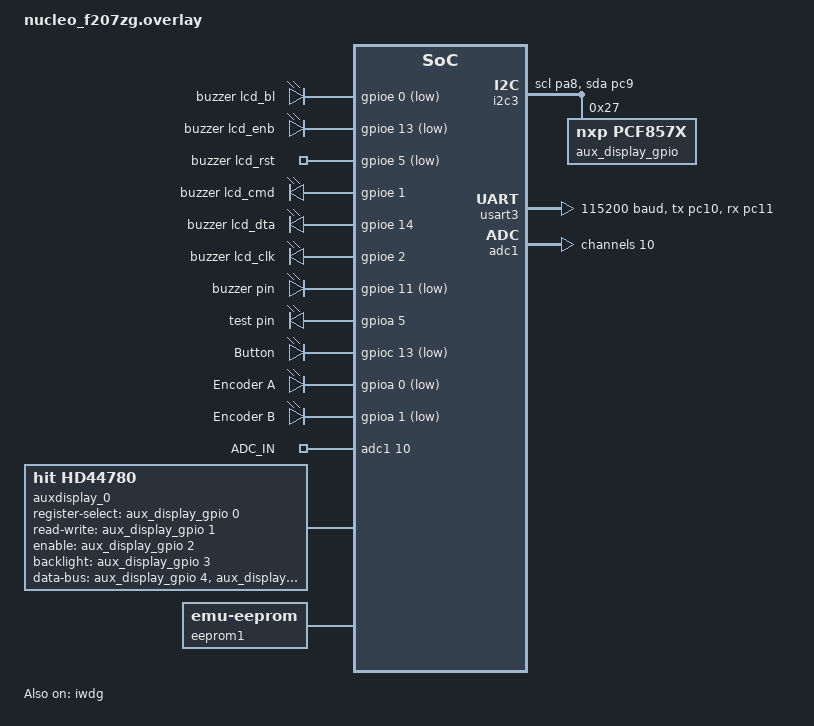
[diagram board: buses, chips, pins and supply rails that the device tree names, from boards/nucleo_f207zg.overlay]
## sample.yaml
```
# See doc/develop/test/twister.rst for what is here.
sample:
  name: Driver Sample
common:
  filter: CONFIG_RUST_SUPPORTED
  platform_allow:
    - qemu_cortex_m0
    - qemu_cortex_m3
    - qemu_riscv32
    - qemu_riscv64    
    - stm32f4_disco
    - stm32l1_disco    
    - nucleo_f207zg
    - nucleo_f072rb
tests:
  sample.basic.drivers:
    tags:
      - I2C
      - ADC      
    filter: 
    depends_on: ADC
    harness: ADC
    integration_platforms:
      - stm32f1_disco
      - nucleo_f207zg
```

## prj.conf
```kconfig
CONFIG_GPIO=y

CONFIG_ADC=y
CONFIG_ADC_ASYNC=y

CONFIG_DAC=y

CONFIG_RUST=y
CONFIG_RUST_ALLOC=y

CONFIG_DEBUG=y
CONFIG_MAIN_STACK_SIZE=4096
CONFIG_HEAP_MEM_POOL_SIZE=2048

CONFIG_SYS_CLOCK_TICKS_PER_SEC=10000

CONFIG_GPIO_ENABLE_DISABLE_INTERRUPT=y

CONFIG_GPIO_PCF857X=y
CONFIG_AUXDISPLAY=y

CONFIG_FPU=n
CONFIG_FPU_SHARING=n

CONFIG_SENSOR=y
CONFIG_W1=y

CONFIG_EEPROM=y
CONFIG_EEPROM_EMULATOR=y

CONFIG_WATCHDOG=y
CONFIG_WDT_DISABLE_AT_BOOT=y
CONFIG_SPEED_OPTIMIZATIONS=y

#CONFIG_I2C=y
#CONFIG_RTIO=y
#CONFIG_I2C_RTIO=y

#CONFIG_LOG=y
#CONFIG_LOG_DEFAULT_LEVEL=4

#Verify that userspace builds work.
#CONFIG_USERSPACE=y
```

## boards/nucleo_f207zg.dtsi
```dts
&usart3 {
	status = "okay";

	w1_0: w1-zephyr-serial-0 {
		compatible = "zephyr,w1-serial";
		#address-cells = <1>;
		#size-cells = <0>;
		status = "okay";

		ds18b20 {
			compatible = "maxim,ds18b20";
			family-code = <0x28>;
			resolution = <12>;
			status = "okay";
		};
	};
};

&adc1 {
	pinctrl-0 = <&adc1_in10_pc0>;
	pinctrl-names = "default";
	st,adc-prescaler = <2>;
	status = "okay";
};

&dac1 {
 	pinctrl-0 = <&dac_out1_pa4>;
 	pinctrl-names = "default";	
 	status = "okay";
};
```

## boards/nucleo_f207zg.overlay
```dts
#include "nucleo_f207zg.dtsi"

&i2c3 {
	pinctrl-0 = <&i2c3_scl_pa8 &i2c3_sda_pc9>;
	pinctrl-names = "default";
	status = "okay";
	aux_display_gpio: pcf8574@27 {
		compatible = "nxp,pcf857x";
		reg = <0x27>;
		gpio-controller;
		ngpios = <8>;
		#gpio-cells = <2>;
	};
};

/ {
	gpios {		
		compatible = "gpio-leds";	
		lcd_bl: lcd_bl {			
			gpios = <&gpioe 0 GPIO_ACTIVE_LOW>;	
			label = "buzzer lcd_bl";
		};
		lcd_enb: lcd_enb {			
			gpios = <&gpioe 13 GPIO_ACTIVE_LOW>;
			label = "buzzer lcd_enb";
		};
		lcd_rst: lcd_rst {			
			gpios = <&gpioe 5 GPIO_ACTIVE_LOW>;
			label = "buzzer lcd_rst";
		};		
		lcd_cmd: lcd_cmd {			
			gpios = <&gpioe 1 GPIO_ACTIVE_HIGH>;
			label = "buzzer lcd_cmd";
		};		
		lcd_dta: lcd_dta {			
			gpios = <&gpioe 14 GPIO_ACTIVE_HIGH>;
			label = "buzzer lcd_dta";
		};		
		lcd_clk: lcd_clk {			
			gpios = <&gpioe 2 GPIO_ACTIVE_HIGH>;
			label = "buzzer lcd_clk";
		};			
		buzzer: buzzer {
			gpios = <&gpioe 11 GPIO_ACTIVE_LOW>;
			label = "buzzer pin";
		};		
		pulse_pin: pulse_pin {
			gpios = <&gpioa 5 (GPIO_ACTIVE_HIGH)>;
			label = "test pin";
		};	
		button: button {
			gpios = <&gpioc 13 (GPIO_PULL_DOWN | GPIO_ACTIVE_LOW)>;
			label = "Button";
		};
		encoder_a: encoder_a {
			gpios = <&gpioa 0 (GPIO_PULL_UP | GPIO_ACTIVE_LOW)>;
			label = "Encoder A";
		};
		encoder_b: encoder_b {
			gpios = <&gpioa 1 (GPIO_PULL_UP | GPIO_ACTIVE_LOW)>;
			label = "Encoder B";
		};											
	};		
	zephyr,user {
		/* adjust channel number according to pinmux in board.dts */
		io-channels = <&adc1 10>;
		io-channel-names = "ADC_IN";

		dac = <&dac1>;
		dac-channel-id = <1>;
		dac-resolution = <12>;			
	};		
	auxdisplay_0: hd44780 {
		compatible = "hit,hd44780";
		columns = <16>;
		rows = <2>;
		mode = <4>;
		boot-delay-ms = <100>;
		register-select-gpios = <&aux_display_gpio 0 (GPIO_ACTIVE_HIGH)>;
		read-write-gpios    = <&aux_display_gpio 1 (GPIO_ACTIVE_HIGH)>;
		enable-gpios        = <&aux_display_gpio 2 (GPIO_ACTIVE_HIGH)>;
		backlight-gpios     = <&aux_display_gpio 3 (GPIO_ACTIVE_HIGH)>;
		data-bus-gpios      = <0>, <0>, <0>, <0>,
				<&aux_display_gpio 4 (GPIO_ACTIVE_HIGH)>,
				<&aux_display_gpio 5 (GPIO_ACTIVE_HIGH)>,
				<&aux_display_gpio 6 (GPIO_ACTIVE_HIGH)>,
				<&aux_display_gpio 7 (GPIO_ACTIVE_HIGH)>;
	};	
	eeprom1: eeprom1 {
		status = "okay";
		compatible = "zephyr,emu-eeprom";
		size = <DT_SIZE_K(4)>;
		pagesize = <DT_SIZE_K(8)>;
	 	partition = <&eepromemu_partition>;
	 	rambuf;
	};

	aliases {		
		eeprom-1 = &eeprom1;
		watchdog0 = &iwdg;
	};		
};

 &flash0 {
	partitions {
		compatible = "fixed-partitions";
		#address-cells = <1>;
		#size-cells = <1>;

		eepromemu_partition: partition@38000 {
			label = "eeprom-emu";
			reg = <0x38000 DT_SIZE_K(32)>;
		};		
	};
};

&usart3 {
	pinctrl-0 = <&usart3_tx_pc10 &usart3_rx_pc11>;
	pinctrl-names = "default";
	current-speed = <115200>;
	status = "okay";
};

&usart3_tx_pc10 {
	drive-open-drain;
	bias-pull-up;
};

&adc1 {
	#address-cells = <1>;
	#size-cells = <0>;
 
	channel@10 {
		reg = <10>;
		zephyr,gain = "ADC_GAIN_1";
		zephyr,reference = "ADC_REF_INTERNAL";
		zephyr,acquisition-time = <ADC_ACQ_TIME_DEFAULT>;
		zephyr,resolution = <12>;
	};
};

&iwdg {
	status = "okay";
};

&wwdg {
	status = "disabled";
};
```

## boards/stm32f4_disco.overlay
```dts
#include "stm32f4_disco.dtsi"

&i2c3 {
	pinctrl-0 = <&i2c3_scl_pa8 &i2c3_sda_pc9>;
	pinctrl-names = "default";
	status = "okay";
	aux_display_gpio: pcf8574@27 {
		compatible = "nxp,pcf857x";
		reg = <0x27>;
		gpio-controller;
		ngpios = <8>;
		#gpio-cells = <2>;
	};
};

/ {
	gpios {		
		compatible = "gpio-leds";	
		lcd_bl: lcd_bl {			
			gpios = <&gpioe 0 GPIO_ACTIVE_LOW>;	
			label = "buzzer lcd_bl";
		};
		lcd_enb: lcd_enb {			
			gpios = <&gpioe 13 GPIO_ACTIVE_LOW>;
			label = "buzzer lcd_enb";
		};
		lcd_rst: lcd_rst {			
			gpios = <&gpioe 5 GPIO_ACTIVE_LOW>;
			label = "buzzer lcd_rst";
		};		
		lcd_cmd: lcd_cmd {			
			gpios = <&gpioe 1 GPIO_ACTIVE_HIGH>;
			label = "buzzer lcd_cmd";
		};		
		lcd_dta: lcd_dta {			
			gpios = <&gpioe 14 GPIO_ACTIVE_HIGH>;
			label = "buzzer lcd_dta";
		};		
		lcd_clk: lcd_clk {			
			gpios = <&gpioe 2 GPIO_ACTIVE_HIGH>;
			label = "buzzer lcd_clk";
		};			
		buzzer: buzzer {
			gpios = <&gpioe 11 GPIO_ACTIVE_LOW>;
			label = "buzzer pin";
		};		
		pulse_pin: pulse_pin {
			gpios = <&gpioe 5 (GPIO_ACTIVE_HIGH)>;
			label = "test pin";
		};	
		button: button {
			gpios = <&gpioc 13 (GPIO_PULL_DOWN | GPIO_ACTIVE_LOW)>;
			label = "Button";
		};
		encoder_a: encoder_a {
			gpios = <&gpioa 0 (GPIO_PULL_UP | GPIO_ACTIVE_LOW)>;
			label = "Encoder A";
		};
		encoder_b: encoder_b {
			gpios = <&gpioa 1 (GPIO_PULL_UP | GPIO_ACTIVE_LOW)>;
			label = "Encoder B";
		};											
	};		
	zephyr,user {
		/* adjust channel number according to pinmux in board.dts */
		io-channels = <&adc1 10>;
		io-channel-names = "ADC_IN";

		dac = <&dac1>;
		dac-channel-id = <1>;
		dac-resolution = <12>;			
	};		
	auxdisplay_0: hd44780 {
		compatible = "hit,hd44780";
		columns = <16>;
		rows = <2>;
		mode = <4>;
		boot-delay-ms = <100>;
		register-select-gpios = <&aux_display_gpio 0 (GPIO_ACTIVE_HIGH)>;
		read-write-gpios    = <&aux_display_gpio 1 (GPIO_ACTIVE_HIGH)>;
		enable-gpios        = <&aux_display_gpio 2 (GPIO_ACTIVE_HIGH)>;
		backlight-gpios     = <&aux_display_gpio 3 (GPIO_ACTIVE_HIGH)>;
		data-bus-gpios      = <0>, <0>, <0>, <0>,
				<&aux_display_gpio 4 (GPIO_ACTIVE_HIGH)>,
				<&aux_display_gpio 5 (GPIO_ACTIVE_HIGH)>,
				<&aux_display_gpio 6 (GPIO_ACTIVE_HIGH)>,
				<&aux_display_gpio 7 (GPIO_ACTIVE_HIGH)>;
	};	
	eeprom1: eeprom1 {
		status = "okay";
		compatible = "zephyr,emu-eeprom";
		size = <DT_SIZE_K(4)>;
		pagesize = <DT_SIZE_K(8)>;
	 	partition = <&eepromemu_partition>;
	 	rambuf;
	};

	aliases {		
		eeprom-1 = &eeprom1;
		watchdog0 = &iwdg;
	};		
};

 &flash0 {
	partitions {
		compatible = "fixed-partitions";
		#address-cells = <1>;
		#size-cells = <1>;

		eepromemu_partition: partition@38000 {
			label = "eeprom-emu";
			reg = <0x38000 DT_SIZE_K(32)>;
		};		
	};
};

&usart3 {
	pinctrl-0 = <&usart3_tx_pc10 &usart3_rx_pc11>;
	pinctrl-names = "default";
	current-speed = <115200>;
	status = "okay";
};

&usart3_tx_pc10 {
	drive-open-drain;
	bias-pull-up;
};

&adc1 {
	#address-cells = <1>;
	#size-cells = <0>;
 
	channel@10 {
		reg = <10>;
		zephyr,gain = "ADC_GAIN_1";
		zephyr,reference = "ADC_REF_INTERNAL";
		zephyr,acquisition-time = <ADC_ACQ_TIME_DEFAULT>;
		zephyr,resolution = <12>;
	};
};

&iwdg {
	status = "okay";
};

&wwdg {
	status = "disabled";
};
```

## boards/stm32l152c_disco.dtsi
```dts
&usart3 {
	status = "okay";
	w1_0: w1-zephyr-serial-0 {
		compatible = "zephyr,w1-serial";
		#address-cells = <1>;
		#size-cells = <0>;
		status = "okay";

		ds18b20 {
			compatible = "maxim,ds18b20";
			family-code = <0x28>;
			resolution = <12>;
			status = "okay";
		};
	};
};

&adc1 {
	pinctrl-0 = <&adc_in10_pc0>;
	pinctrl-names = "default";
	st,adc-prescaler = <2>;
	status = "okay";
};

&dac1 {
 	pinctrl-0 = <&dac_out2_pa5>;
 	pinctrl-names = "default";	
 	status = "okay";
};
```

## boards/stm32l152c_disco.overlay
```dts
#include "stm32l152c_disco.dtsi"

/ {
	gpios {
		compatible = "gpio-leds";
		lcd_bl: lcd_bl {			
			gpios = <&gpiob 0 GPIO_ACTIVE_LOW>;	
			label = "buzzer lcd_bl";
		};
		lcd_enb: lcd_enb {			
			gpios = <&gpiob 13 GPIO_ACTIVE_LOW>;
			label = "buzzer lcd_enb";
		};
		lcd_rst: lcd_rst {			
			gpios = <&gpioc 5 GPIO_ACTIVE_LOW>;
			label = "buzzer lcd_rst";
		};		
		lcd_cmd: lcd_cmd {			
			gpios = <&gpiob 1 GPIO_ACTIVE_HIGH>;
			label = "buzzer lcd_cmd";
		};		
		lcd_dta: lcd_dta {			
			gpios = <&gpiob 14 GPIO_ACTIVE_HIGH>;
			label = "buzzer lcd_dta";
		};		
		lcd_clk: lcd_clk {			
			gpios = <&gpiob 2 GPIO_ACTIVE_HIGH>;
			label = "buzzer lcd_clk";
		};			
		buzzer: buzzer {
			gpios = <&gpioa 11 GPIO_ACTIVE_LOW>;
			label = "buzzer pin";
		};		
		button: button {
			gpios = <&gpioa 0 (GPIO_PULL_UP | GPIO_ACTIVE_LOW)>;
			label = "Button";
		};
		encoder_a: encoder_a {
			gpios = <&gpiob 5 (GPIO_PULL_UP | GPIO_ACTIVE_LOW)>;
			label = "Encoder A";
		};
		encoder_b: encoder_b {
			gpios = <&gpiob 4 (GPIO_PULL_UP | GPIO_ACTIVE_LOW)>;
			label = "Encoder B";
		};	
		pulse_pin: pulse_pin {						
			gpios = <&gpioc 7 GPIO_ACTIVE_HIGH>;
			label = "Pulse pin";
		};										
	};	
	zephyr,user {
		io-channels = <&adc1 10>;
		io-channel-names = "ADC_IN";

		dac = <&dac1>;
		dac-channel-id = <2>;
		dac-resolution = <12>;			
	};		
	eeprom1: eeprom1 {
		status = "okay";
		compatible = "zephyr,emu-eeprom";
		size = <DT_SIZE_K(4)>;
		pagesize = <DT_SIZE_K(8)>;
	 	partition = <&eepromemu_partition>;
		rambuf;
	};	
	aliases {
		eeprom-1 = &eeprom1;
		watchdog0 = &iwdg;
	};	
};

&flash0 {
	partitions {
		compatible = "fixed-partitions";
		#address-cells = <1>;
		#size-cells = <1>;

		eepromemu_partition: partition@38000 {
			label = "eeprom-emu";
			reg = <0x38000 DT_SIZE_K(32)>;
		};		
	};
};

&usart3 {
	pinctrl-0 = <&usart3_tx_pc10 &usart3_rx_pc11>;
	pinctrl-names = "default";
	current-speed = <115200>;
	status = "okay";
};

&usart3_tx_pc10 {
	drive-open-drain;
	bias-pull-up;
};

&adc1 {
	#address-cells = <1>;
	#size-cells = <0>;
 
	channel@10 {
		reg = <10>;
		zephyr,gain = "ADC_GAIN_1";
		zephyr,reference = "ADC_REF_INTERNAL";
		zephyr,acquisition-time = <ADC_ACQ_TIME_DEFAULT>;
		zephyr,resolution = <12>;
	};
};

&iwdg {
	status = "okay";
};

&wwdg {
	status = "disabled";
};

&eeprom {
	status = "okay";
};
```

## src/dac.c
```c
// Copyright (c) 2025
// SPDX-License-Identifier: Apache-2.0
// Coskun ERGAN <coskunergan@gmail.com>

#include <zephyr/kernel.h>
#include <zephyr/devicetree.h>
#include <zephyr/drivers/dac.h>

#if !DT_NODE_HAS_PROP(DT_PATH(zephyr_user), dac) || \
	!DT_NODE_HAS_PROP(DT_PATH(zephyr_user), dac_channel_id) || \
	!DT_NODE_HAS_PROP(DT_PATH(zephyr_user), dac_resolution)
#error "DAC properties missing in devicetree"
#endif

#define DAC_NODE DT_PHANDLE(DT_PATH(zephyr_user), dac)
#define DAC_CHANNEL_ID DT_PROP(DT_PATH(zephyr_user), dac_channel_id)
#define DAC_RESOLUTION DT_PROP(DT_PATH(zephyr_user), dac_resolution)

static const struct device *const dac_dev = DEVICE_DT_GET_OR_NULL(DAC_NODE);

static const struct dac_channel_cfg dac_ch_cfg =
{
    .channel_id = DAC_CHANNEL_ID,
    .resolution = DAC_RESOLUTION,
    .buffered = true
};

int dac_init(void)
{
    if(!device_is_ready(dac_dev))
    {
        return -ENODEV;
    }
    return dac_channel_setup(dac_dev, &dac_ch_cfg);
}

int dac_write(uint32_t value)
{
    return dac_write_value(dac_dev, DAC_CHANNEL_ID, value);
}
```

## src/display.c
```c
// Copyright (c) 2025
// SPDX-License-Identifier: Apache-2.0
// Coskun ERGAN <coskunergan@gmail.com>

#include <zephyr/kernel.h>
#include <zephyr/devicetree.h>
#include <zephyr/device.h>
#include <zephyr/drivers/auxdisplay.h>
#include <zephyr/drivers/gpio.h>
#include <zephyr/logging/log.h>

LOG_MODULE_REGISTER(auxdisplay, LOG_LEVEL_DBG);

//#define AUX_DISPLAY (convert-1)

#ifdef AUX_DISPLAY
static const struct device *const display_dev = DEVICE_DT_GET_OR_NULL(DT_NODELABEL(auxdisplay_0));
#else

static const struct gpio_dt_spec lcd_bl =
    GPIO_DT_SPEC_GET_OR(DT_NODELABEL(lcd_bl), gpios,
                        {
                            0
                        });
static const struct gpio_dt_spec lcd_rst =
    GPIO_DT_SPEC_GET_OR(DT_NODELABEL(lcd_rst), gpios,
                        {
                            0
                        });
static const struct gpio_dt_spec lcd_enb =
    GPIO_DT_SPEC_GET_OR(DT_NODELABEL(lcd_enb), gpios,
                        {
                            0
                        });
static const struct gpio_dt_spec lcd_cmd =
    GPIO_DT_SPEC_GET_OR(DT_NODELABEL(lcd_cmd), gpios,
                        {
                            0
                        });
static const struct gpio_dt_spec lcd_dta =
    GPIO_DT_SPEC_GET_OR(DT_NODELABEL(lcd_dta), gpios,
                        {
                            0
                        });
static const struct gpio_dt_spec lcd_clk =
    GPIO_DT_SPEC_GET_OR(DT_NODELABEL(lcd_clk), gpios,
                        {
                            0
                        });
const uint8_t init_params[] =
{
    0xF1, 0x0F, 0xF8, 0x01, 0x06, 0xF0, 0x00, 0x2D, 0xA8, 0xA3, 0x81, 0x8, 0xFF
};
const uint8_t char_table[111][6] =
{
    {0x00, 0x00, 0x00, 0x00, 0x00, 0x00}, // SPACE
    {0x00, 0x00, 0x5F, 0x00, 0x00, 0x00}, // !
    {0x00, 0x03, 0x00, 0x03, 0x00, 0x00}, // "
    {0x14, 0x3E, 0x14, 0x3E, 0x14, 0x00}, // #
    {0x24, 0x2A, 0x7F, 0x2A, 0x12, 0x00}, // $
    {0x43, 0x33, 0x08, 0x66, 0x61, 0x00}, // %
    {0x36, 0x49, 0x55, 0x22, 0x50, 0x00}, // &
    {0x00, 0x05, 0x03, 0x00, 0x00, 0x00}, // '
    {0x00, 0x1C, 0x22, 0x41, 0x00, 0x00}, // (
    {0x00, 0x41, 0x22, 0x1C, 0x00, 0x00}, // )
    {0x14, 0x08, 0x3E, 0x08, 0x14, 0x00}, // *
    {0x08, 0x08, 0x3E, 0x08, 0x08, 0x00}, // +
    {0x00, 0x50, 0x30, 0x00, 0x00, 0x00}, // ,
    {0x08, 0x08, 0x08, 0x08, 0x08, 0x00}, // -
    {0x00, 0x60, 0x60, 0x00, 0x00, 0x00}, // .
    {0x20, 0x10, 0x08, 0x04, 0x02, 0x00}, // /
    {0x3E, 0x51, 0x49, 0x45, 0x3E, 0x00}, // 0
    {0x04, 0x02, 0x7F, 0x00, 0x00, 0x00}, // 1
    {0x42, 0x61, 0x51, 0x49, 0x46, 0x00}, // 2
    {0x22, 0x41, 0x49, 0x49, 0x36, 0x00}, // 3
    {0x18, 0x14, 0x12, 0x7F, 0x10, 0x00}, // 4
    {0x27, 0x45, 0x45, 0x45, 0x39, 0x00}, // 5
    {0x3E, 0x49, 0x49, 0x49, 0x32, 0x00}, // 6
    {0x01, 0x01, 0x71, 0x09, 0x07, 0x00}, // 7
    {0x36, 0x49, 0x49, 0x49, 0x36, 0x00}, // 8
    {0x26, 0x49, 0x49, 0x49, 0x3E, 0x00}, // 9
    {0x00, 0x36, 0x36, 0x00, 0x00, 0x00}, // :
    {0x00, 0x56, 0x36, 0x00, 0x00, 0x00}, // ;
    {0x08, 0x14, 0x22, 0x41, 0x00, 0x00}, // <
    {0x14, 0x14, 0x14, 0x14, 0x14, 0x00}, // =
    {0x00, 0x41, 0x22, 0x14, 0x08, 0x00}, // >
    {0x02, 0x01, 0x51, 0x09, 0x06, 0x00}, // ?
    {0x00, 0x06, 0x09, 0x09, 0x06, 0x00}, // @
    {0x7E, 0x09, 0x09, 0x09, 0x7E, 0x00}, // A
    {0x7F, 0x49, 0x49, 0x49, 0x36, 0x00}, // B
    {0x3E, 0x41, 0x41, 0x41, 0x22, 0x00}, // C
    {0x7F, 0x41, 0x41, 0x41, 0x3E, 0x00}, // D
    {0x7F, 0x49, 0x49, 0x49, 0x41, 0x00}, // E
    {0x7F, 0x09, 0x09, 0x09, 0x01, 0x00}, // F
    {0x3E, 0x41, 0x41, 0x49, 0x3A, 0x00}, // G
    {0x7F, 0x08, 0x08, 0x08, 0x7F, 0x00}, // H
    {0x00, 0x41, 0x7F, 0x41, 0x00, 0x00}, // I
    {0x30, 0x40, 0x40, 0x40, 0x3F, 0x00}, // J
    {0x7F, 0x08, 0x14, 0x22, 0x41, 0x00}, // K
    {0x7F, 0x40, 0x40, 0x40, 0x40, 0x00}, // L
    {0x7F, 0x02, 0x0C, 0x02, 0x7F, 0x00}, // M
    {0x7F, 0x02, 0x04, 0x08, 0x7F, 0x00}, // N
    {0x3E, 0x41, 0x41, 0x41, 0x3E, 0x00}, // O
    {0x7F, 0x09, 0x09, 0x09, 0x06, 0x00}, // P
    {0x1E, 0x21, 0x21, 0x21, 0x5E, 0x00}, // Q
    {0x7F, 0x09, 0x09, 0x09, 0x76, 0x00}, // R
    {0x26, 0x49, 0x49, 0x49, 0x32, 0x00}, // S
    {0x01, 0x01, 0x7F, 0x01, 0x01, 0x00}, // T
    {0x3F, 0x40, 0x40, 0x40, 0x3F, 0x00}, // U
    {0x1F, 0x20, 0x40, 0x20, 0x1F, 0x00}, // V
    {0x7F, 0x20, 0x10, 0x20, 0x7F, 0x00}, // W
    {0x63, 0x14, 0x08, 0x14, 0x63, 0x00}, // X
    {0x07, 0x08, 0x70, 0x08, 0x07, 0x00}, // Y
    {0x61, 0x51, 0x49, 0x45, 0x43, 0x00}, // Z
    {0x00, 0x7F, 0x41, 0x00, 0x00, 0x00}, // [
    {0x02, 0x04, 0x08, 0x10, 0x20, 0x00}, //
    {0x00, 0x00, 0x41, 0x7F, 0x00, 0x00}, // ]
    {0x00, 0x06, 0x09, 0x09, 0x06, 0x00}, // ^ -> degree
    {0x40, 0x40, 0x40, 0x40, 0x40, 0x00}, // _
    {0x00, 0x01, 0x02, 0x04, 0x00, 0x00}, // `
    {0x20, 0x54, 0x54, 0x54, 0x78, 0x00}, // a
    {0x7F, 0x44, 0x44, 0x44, 0x38, 0x00}, // b
    {0x38, 0x44, 0x44, 0x44, 0x44, 0x00}, // c
    {0x38, 0x44, 0x44, 0x44, 0x7F, 0x00}, // d
    {0x38, 0x54, 0x54, 0x54, 0x18, 0x00}, // e
    {0x04, 0x04, 0x7E, 0x05, 0x05, 0x00}, // f
    {0x08, 0x54, 0x54, 0x54, 0x3C, 0x00}, // g
    {0x7F, 0x08, 0x04, 0x04, 0x78, 0x00}, // h
    {0x00, 0x44, 0x7D, 0x40, 0x00, 0x00}, // i
    {0x20, 0x40, 0x44, 0x3D, 0x00, 0x00}, // j
    {0x7F, 0x10, 0x28, 0x44, 0x00, 0x00}, // k
    {0x00, 0x41, 0x7F, 0x40, 0x00, 0x00}, // l
    {0x7C, 0x04, 0x78, 0x04, 0x78, 0x00}, // m
    {0x7C, 0x08, 0x04, 0x04, 0x78, 0x00}, // n
    {0x38, 0x44, 0x44, 0x44, 0x38, 0x00}, // o
    {0x7C, 0x14, 0x14, 0x14, 0x08, 0x00}, // p
    {0x08, 0x14, 0x14, 0x14, 0x7C, 0x00}, // q
    {0x00, 0x7C, 0x08, 0x04, 0x04, 0x00}, // r
    {0x48, 0x54, 0x54, 0x54, 0x20, 0x00}, // s
    {0x04, 0x04, 0x3F, 0x44, 0x44, 0x00}, // t
    {0x3C, 0x40, 0x40, 0x20, 0x7C, 0x00}, // u
    {0x1C, 0x20, 0x40, 0x20, 0x1C, 0x00}, // v
    {0x3C, 0x40, 0x30, 0x40, 0x3C, 0x00}, // w
    {0x44, 0x28, 0x10, 0x28, 0x44, 0x00}, // x
    {0x0C, 0x50, 0x50, 0x50, 0x3C, 0x00}, // y
    {0x44, 0x64, 0x54, 0x4C, 0x44, 0x00}, // z
    {0x00, 0x08, 0x36, 0x41, 0x41, 0x00}, // {
    {0x00, 0x00, 0x7F, 0x00, 0x00, 0x00}, // |
    {0x41, 0x41, 0x36, 0x08, 0x00, 0x00}, // }
    {0x02, 0x01, 0x02, 0x04, 0x02, 0x00}, // ~
    {0x30, 0x48, 0xC8, 0x48, 0x00, 0x00}, //ç
    {0x10, 0xAA, 0xAA, 0xA8, 0x70, 0x00}, //ğ
    {0x00, 0x00, 0x7C, 0x00, 0x00, 0x00}, //ı
    {0x38, 0x45, 0x44, 0x45, 0x38, 0x00}, //ö
    {0x58, 0x54, 0xD4, 0x54, 0x30, 0x00}, //ş
    {0x38, 0x41, 0x40, 0x41, 0x38, 0x00}, //ü
    {0x3E, 0x41, 0xC1, 0x41, 0x22, 0x00}, //Ç
    {0x3C, 0x43, 0x53, 0x53, 0x34, 0x00}, //Ğ
    {0x00, 0x00, 0x7D, 0x00, 0x00, 0x00}, //İ
    {0x3C, 0x43, 0x42, 0x43, 0x3C, 0x00}, //Ö
    {0x26, 0x49, 0xC9, 0x49, 0x32, 0x00}, //Ş
    {0x3C, 0x41, 0x40, 0x41, 0x3C, 0x00}, //Ü
    {0x00, 0x00, 0x11, 0x15, 0x0A, 0x00}, //3
    {0x10, 0x38, 0x7C, 0xFE, 0x38, 0x38}, //<
    {0x38, 0x38, 0xFE, 0x7C, 0x38, 0x10}  //>
};
uint8_t ch_count;
void io_send(uint8_t byte)
{
    for(uint8_t i = 0; i < 8; i++)
    {
        gpio_pin_set_dt(&lcd_clk, false);
        if((byte & 0x80) == 0x80)
        {
            gpio_pin_set_dt(&lcd_dta, true);
        }
        else
        {
            gpio_pin_set_dt(&lcd_dta, false);
        }
        byte <<= 1;
        gpio_pin_set_dt(&lcd_clk, true);
    }
}
#endif
int display_init()
{
#ifdef AUX_DISPLAY
    if(!device_is_ready(display_dev))
    {
        LOG_ERR("Auxdisplay device is not ready.");
        return -ENODEV;
    }
#else
    gpio_pin_configure_dt(&lcd_rst, GPIO_OUTPUT_INACTIVE);
    gpio_pin_configure_dt(&lcd_bl, GPIO_OUTPUT_INACTIVE);
    gpio_pin_configure_dt(&lcd_enb, GPIO_OUTPUT_INACTIVE);
    gpio_pin_configure_dt(&lcd_cmd, GPIO_OUTPUT_INACTIVE);
    gpio_pin_configure_dt(&lcd_dta, GPIO_OUTPUT_INACTIVE);
    gpio_pin_configure_dt(&lcd_clk, GPIO_OUTPUT_INACTIVE);
    volatile uint8_t i = 0;
    gpio_pin_set_dt(&lcd_rst, true);
    while(--i);
    gpio_pin_set_dt(&lcd_enb, true);
    gpio_pin_set_dt(&lcd_rst, false);
    while(--i);
    gpio_pin_set_dt(&lcd_cmd, false);
    i = 0;
    do
    {
        io_send(init_params[i++]);
    }
    while(i <= sizeof(init_params));
    io_send(0xAF);
    io_send(0xB0);
    for(uint8_t i = 0; i < 16; i++)
    {
        gpio_pin_set_dt(&lcd_cmd, false);
        io_send(i);
        io_send(0x10);
        gpio_pin_set_dt(&lcd_cmd, true);
        io_send(0x00);
    }
    gpio_pin_set_dt(&lcd_cmd, false);
    io_send(0xB8);
    for(i = 0; i < 96; i++)
    {
        gpio_pin_set_dt(&lcd_cmd, false);
        io_send(i & 0xF);
        io_send((i >> 4) | 0x10);
        gpio_pin_set_dt(&lcd_cmd, true);
        io_send(0x00);
    }
    gpio_pin_set_dt(&lcd_cmd, false);
    io_send(0xB0);
    io_send(0x00);
    io_send(0x11);
    gpio_pin_set_dt(&lcd_cmd, true);
    ch_count = 0;
#endif
    return 0;
}

int display_write(const uint8_t *data, uint16_t len)
{
#ifdef AUX_DISPLAY
    return auxdisplay_write(display_dev, data, len);
#else
    while(--len)
    {
        if((*data == '\r') || (ch_count > 25))
        {
            if(*data == '\r')
            {
                ch_count = 0;
            }
            gpio_pin_set_dt(&lcd_cmd, false);
            io_send(0xB0);
            io_send(0x00);
            io_send(0x11);
            gpio_pin_set_dt(&lcd_cmd, true);

        }
        else if(*data == '\n')
        {
            if(ch_count < 14)
            {
                ch_count = 13;
                gpio_pin_set_dt(&lcd_cmd, false);
                io_send(0xB1);
                io_send(0x00);
                io_send(0x11);
                gpio_pin_set_dt(&lcd_cmd, true);
            }
        }
        else
        {
            if(++ch_count == 14)
            {
                io_send(0);
                io_send(0);
                gpio_pin_set_dt(&lcd_cmd, false);
                io_send(0xB1);
                io_send(0x00);
                io_send(0x11);
                gpio_pin_set_dt(&lcd_cmd, true);
            }
            uint8_t temp = *data - 0x20;
            for(uint8_t i = 0; i < 6; i++)
            {
                io_send(char_table[temp][i]);
            }
            if(ch_count == 26)
            {
                io_send(0);
                io_send(0);
            }
        }
        data++;
    }
    return 0;
#endif
}

int display_clear(void)
{
#ifdef AUX_DISPLAY
    return auxdisplay_clear(display_dev);
#else
    ch_count = 0;
    return 0;
#endif
}

int display_set_cursor(bool state)
{
#ifdef AUX_DISPLAY
    return auxdisplay_cursor_set_enabled(display_dev, state);
#else
    return 0;
#endif
}

int display_set_backlight(uint8_t state)
{
#ifdef AUX_DISPLAY
    return auxdisplay_backlight_set(display_dev, state);
#else
    return gpio_pin_set_dt(&lcd_bl, state);;
#endif
}
```

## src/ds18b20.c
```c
// Copyright (c) 2025
// SPDX-License-Identifier: Apache-2.0
// Coskun ERGAN <coskunergan@gmail.com>

#include <zephyr/kernel.h>
#include <zephyr/devicetree.h>
#include <zephyr/device.h>
#include <zephyr/drivers/sensor.h>
#include <zephyr/logging/log.h>

static const struct device *const dev = DEVICE_DT_GET_ANY(maxim_ds18b20);
static struct sensor_value temp;
static int32_t measure;
static int status = -ENODEV;

LOG_MODULE_REGISTER(ds18b20, LOG_LEVEL_DBG);

int32_t min_max_filter(int32_t val)
{
    static int32_t measure_value_arr[5] = {-99, 99, -99, 99, -99};
    static uint8_t index = 0;
    uint8_t min_index = 0;
    uint8_t max_index = 0;
    uint8_t catch_index = 0x1F;
    uint8_t i, j;
    int32_t temp_min;
    int32_t temp_max;
    measure_value_arr[index] = val;
    index++;
    index %= 5;
    for(j = 0; j < 2; j++)
    {
        //------- find min -------
        for(i = 0; i < 5; i++)
        {
            if(catch_index & (1U << i))
            {
                break;
            }
        }
        temp_min = measure_value_arr[i];
        for(i = 0; i < 5; i++)
        {
            if((catch_index & (1U << i)) && (measure_value_arr[i] < temp_min))
            {
                temp_min = measure_value_arr[i];
                min_index = i;
            }
        }
        catch_index &= ~(1U << min_index);
        //------- find max -------
        for(i = 0; i < 5; i++)
        {
            if(catch_index & (1U << i))
            {
                break;
            }
        }
        temp_max = measure_value_arr[i];
        for(i = 0; i < 5; i++)
        {
            if((catch_index & (1U << i)) && (measure_value_arr[i] > temp_max))
            {
                temp_max = measure_value_arr[i];
                max_index = i;
            }
        }
        catch_index &= ~(1U << max_index);
    }
    for(i = 0; i < 5; i++)
    {
        catch_index >>= 1U;
        if(catch_index == 0)
        {
            break;
        }
    }
    return measure_value_arr[i];
}

void sensor_work_handler(struct k_work *work)
{
    if(dev)
    {
        int rc = sensor_sample_fetch(dev);
        if(rc == 0)
        {
            sensor_channel_get(dev, SENSOR_CHAN_AMBIENT_TEMP, &temp);
            measure = min_max_filter(((uint64_t)temp.val1 * 32768) + (((uint64_t)temp.val2 * 32768) / 1000000));
        }
        else if(measure < (999 * 3276))
        {
            measure += 32768;
            measure = min_max_filter(measure);
        }
        status = rc;
    }
}

K_WORK_DEFINE(sensor_work, sensor_work_handler);

void sensor_timer_handler(struct k_timer *timer)
{
    k_work_submit(&sensor_work);
}

K_TIMER_DEFINE(sensor_timer, sensor_timer_handler, NULL);

int ds18b20_init()
{
    if(!device_is_ready(dev))
    {
        LOG_ERR("ds18b20 device is not ready.");
        return -ENODEV;
    }
    k_timer_start(&sensor_timer, K_SECONDS(1), K_SECONDS(1));
    return 0;
}

int ds18b20_read_q15(int32_t *value)
{
    *value = measure;
    return status;
}
```

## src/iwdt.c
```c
// Copyright (c) 2025
// SPDX-License-Identifier: Apache-2.0
// Coskun ERGAN <coskunergan@gmail.com>

#include <zephyr/kernel.h>
#include <zephyr/devicetree.h>
#include <zephyr/drivers/watchdog.h>

const struct device *const wdt = DEVICE_DT_GET_OR_NULL(DT_ALIAS(watchdog0));
int wdt_channel_id;

int iwdt_init(uint32_t timeout)
{
    if(!device_is_ready(wdt))
    {
        return -ENODEV;
    }

    struct wdt_timeout_cfg wdt_config;
    wdt_config.flags = WDT_FLAG_RESET_SOC;
    wdt_config.window.min = 0U;
    wdt_config.window.max = timeout;

    wdt_channel_id = wdt_install_timeout(wdt, &wdt_config);
    if(wdt_channel_id == -ENOTSUP)
    {         
        /* IWDG driver for STM32 doesn't support callback */       
        wdt_config.callback = NULL;
        wdt_channel_id = wdt_install_timeout(wdt, &wdt_config);
    }
    if(wdt_channel_id < 0)
    {        
        return -ENOTSUP;
    }
    int err = wdt_setup(wdt, WDT_OPT_PAUSE_HALTED_BY_DBG);
    if(err < 0)
    {
        printk("Watchdog setup error\n");
        return err;
    }

    return 0;
}

int iwdt_reload()
{
    return wdt_feed(wdt, wdt_channel_id);
}
```

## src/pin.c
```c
// Copyright (c) 2025
// SPDX-License-Identifier: Apache-2.0
// Coskun ERGAN <coskunergan@gmail.com>

#include <zephyr/kernel.h>
#include <zephyr/devicetree.h>
#include <zephyr/drivers/gpio.h>

static struct gpio_dt_spec pin_dt;

int pin_init(/*const struct gpio_dt_spec pin*/)
{
    //const struct device *dev = device_get_binding(label);
    struct gpio_dt_spec pin = GPIO_DT_SPEC_GET_OR(DT_NODELABEL(pulse_pin), gpios,
                                    {
                                        0
                                    });
    // pin_dt.port = port;
    // pin_dt.pin = 5;
    // pin_dt.dt_flags = GPIO_ACTIVE_HIGH;
    pin_dt = pin;                                    
    if(!gpio_is_ready_dt(&pin_dt))
    {
        return -ENODEV;
    }
    return gpio_pin_configure_dt(&pin_dt, GPIO_OUTPUT_ACTIVE);
}

void pin_set(bool value)
{
    gpio_pin_set_dt(&pin_dt, value);
}

void pin_toggle()
{
    gpio_pin_toggle_dt(&pin_dt);
}
```
